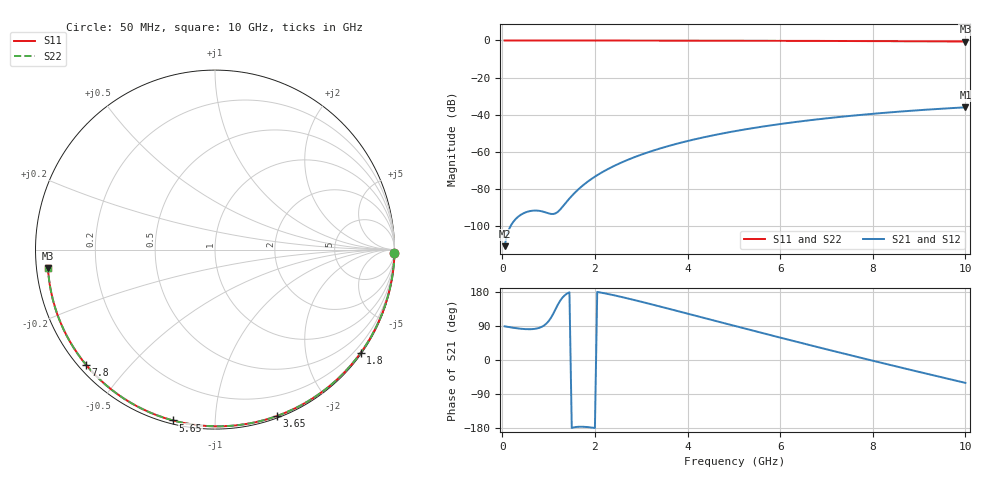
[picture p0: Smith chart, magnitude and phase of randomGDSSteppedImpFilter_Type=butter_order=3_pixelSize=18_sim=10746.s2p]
! freq	dB(S11)	phase(S11)	dB(S12)	phase(S12)
!  dB(S21)	phase(S21)	dB(S22)	phase(S22)
!S-par simulation data
#  GHz  S  DB  R 50
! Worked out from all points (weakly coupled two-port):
!   200 points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, 50 MHz to 10 GHz, reference 50 ohm
!   highest |S21| = -36.10 dB at 10 GHz (marker M1); lowest = -111.0 dB at 50 MHz (marker M2)
!   lowest |S11| = -0.6 dB at 10 GHz (marker M3), VSWR 30.42, Z = 1.65 - j2.77 ohm
!   |S11| at or under -10 dB: nowhere
!   |S22| runs from -0.6 to 0.0 dB; largest |S21 - S12| = 0
!   S11 on the Smith chart (normalised r, x): 50 MHz: open; 1.8 GHz: 0.03, -3.13; 3.65 GHz: 0.02, -1.44; 5.65 GHz: 0.02, -0.78; 7.8 GHz: 0.02, -0.38; 10 GHz: 0.03, -0.06
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0.05  -0.00 -1.0  -111.02 88.9  -111.02 88.9  -0.00 -1.0
0.45  -0.01 -9.0  -93.37 81.9  -93.37 81.9  -0.01 -9.0
0.85  -0.02 -16.9  -92.19 87.4  -92.19 87.4  -0.02 -16.9
1.65  -0.04 -32.5  -80.18 -176.2  -80.18 -176.2  -0.04 -32.5
1.75  -0.04 -34.4  -78.03 -176.2  -78.03 -176.2  -0.04 -34.4
1.8  -0.05 -35.4  -77.04 -176.6  -77.04 -176.6  -0.05 -35.4
2.1  -0.05 -41.1  -71.94 178.5  -71.94 178.5  -0.05 -41.1
2.3  -0.06 -44.9  -69.15 173.8  -69.15 173.8  -0.06 -44.9
2.5  -0.06 -48.7  -66.70 168.4  -66.70 168.4  -0.06 -48.7
2.9  -0.07 -56.1  -62.54 156.8  -62.54 156.8  -0.07 -56.1
3.4  -0.09 -65.2  -58.34 141.4  -58.34 141.4  -0.09 -65.2
3.65  -0.09 -69.7  -56.54 133.5  -56.54 133.5  -0.09 -69.7
4.35  -0.12 -81.9  -52.26 111.2  -52.26 111.2  -0.12 -81.9
5.05  -0.15 -93.8  -48.83 89.0  -48.83 89.0  -0.15 -93.8
5.65  -0.17 -103.8  -46.37 70.1  -46.37 70.1  -0.17 -103.8
6.15  -0.20 -111.9  -44.60 54.4  -44.60 54.4  -0.20 -111.9
6.7  -0.24 -120.7  -42.88 37.4  -42.88 37.4  -0.24 -120.7
7.25  -0.28 -129.4  -41.36 20.6  -41.36 20.6  -0.28 -129.4
7.8  -0.32 -138.1  -40.03 4.1  -40.03 4.1  -0.32 -138.1
8.35  -0.38 -146.8  -38.85 -12.3  -38.85 -12.3  -0.38 -146.8
9.2  -0.47 -160.4  -37.29 -37.3  -37.29 -37.3  -0.47 -160.4
10  -0.57 -173.6  -36.10 -60.4  -36.10 -60.4  -0.57 -173.7
